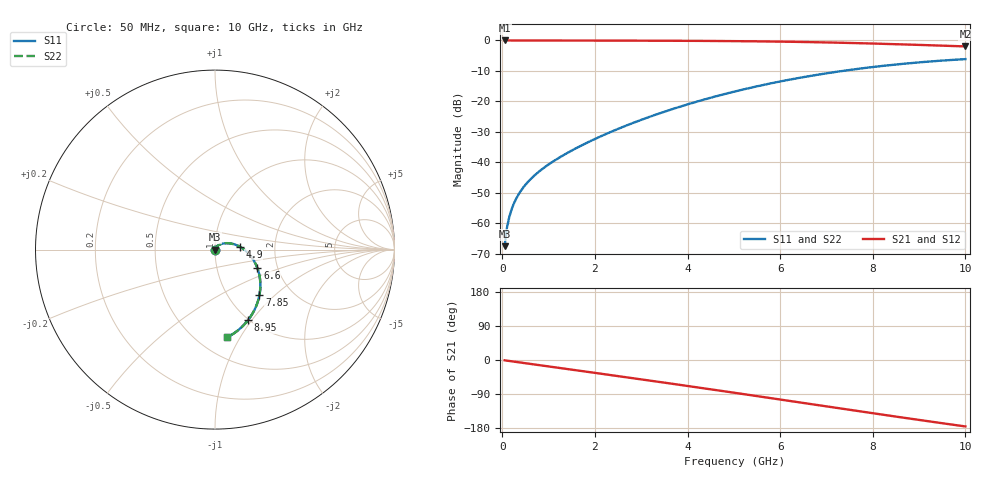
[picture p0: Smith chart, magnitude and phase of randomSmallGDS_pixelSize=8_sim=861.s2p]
! freq	dB(S11)	phase(S11)	dB(S12)	phase(S12)
!  dB(S21)	phase(S21)	dB(S22)	phase(S22)
!S-par simulation data
#  GHz  S  DB  R 50
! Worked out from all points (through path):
!   200 points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, 50 MHz to 10 GHz, reference 50 ohm
!   highest |S21| = 0.00 dB at 50 MHz (marker M1); lowest = -2.0 dB at 10 GHz (marker M2)
!   group delay of S21, straight-line fit = 49.1 ps
!   lowest |S11| = -67.5 dB at 50 MHz (marker M3), VSWR 1.00, Z = 50 + j0.0419 ohm
!   |S11| at or under -10 dB: start of sweep to 7.349 GHz
!   |S22| runs from -67.5 to -6.1 dB; largest |S21 - S12| = 0
!   S11 on the Smith chart (normalised r, x): 50 MHz: 1.00, +0.00; 4.9 GHz: 1.32, +0.04; 6.6 GHz: 1.57, -0.35; 7.85 GHz: 1.38, -0.81; 8.95 GHz: 0.99, -0.96; 10 GHz: 0.68, -0.88
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0.05  -67.52 84.7  -0.00 -0.9  -0.00 -0.9  -67.52 84.7
0.1  -61.51 86.0  -0.00 -1.7  -0.00 -1.7  -61.51 86.0
0.15  -57.98 85.9  -0.00 -2.6  -0.00 -2.6  -57.98 85.9
0.2  -55.48 85.5  -0.00 -3.4  -0.00 -3.4  -55.48 85.5
0.3  -51.92 84.1  -0.00 -5.1  -0.00 -5.1  -51.92 84.1
0.45  -48.31 81.9  -0.01 -7.7  -0.01 -7.7  -48.31 81.9
0.65  -44.94 78.9  -0.01 -11.1  -0.01 -11.1  -44.94 78.9
0.95  -41.23 74.4  -0.02 -16.1  -0.02 -16.1  -41.23 74.4
1.3  -37.83 69.0  -0.03 -22.1  -0.03 -22.1  -37.83 69.0
1.75  -34.16 61.8  -0.03 -29.7  -0.03 -29.7  -34.16 61.8
2.55  -28.71 48.3  -0.05 -43.4  -0.05 -43.4  -28.71 48.3
3.4  -23.90 33.5  -0.08 -58.0  -0.08 -58.0  -23.90 33.5
4.15  -20.30 20.3  -0.13 -71.1  -0.13 -71.1  -20.30 20.3
4.9  -17.21 7.0  -0.20 -84.4  -0.20 -84.4  -17.21 7.0
5.05  -16.64 4.3  -0.22 -87.1  -0.22 -87.1  -16.64 4.3
5.8  -14.08 -9.2  -0.34 -100.6  -0.34 -100.6  -14.08 -9.2
6.6  -11.78 -23.6  -0.53 -115.1  -0.53 -115.1  -11.78 -23.6
6.7  -11.52 -25.4  -0.56 -117.0  -0.56 -117.0  -11.52 -25.3
7.85  -9.00 -45.8  -0.95 -137.8  -0.95 -137.8  -8.99 -45.8
8.35  -8.13 -54.6  -1.16 -146.7  -1.16 -146.7  -8.13 -54.5
8.95  -7.26 -64.8  -1.44 -157.3  -1.44 -157.3  -7.26 -64.8
10  -6.13 -82.2  -1.96 -175.3  -1.96 -175.3  -6.13 -82.2
